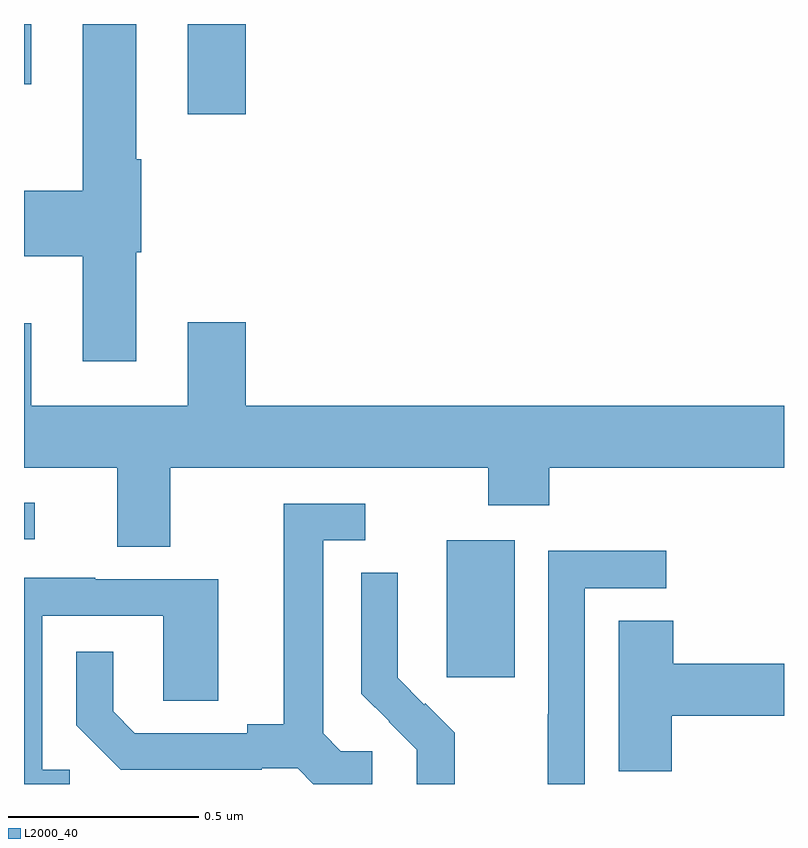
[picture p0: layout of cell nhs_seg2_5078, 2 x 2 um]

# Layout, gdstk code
import gdstk
lib = gdstk.Library(unit=1e-6, precision=1e-09)
def R(c, l, rs):  # rectangles x0, y0, x1, y1
    for r in rs: c.add(gdstk.rectangle(r[:2], r[2:], *l))
def P(c, l, *ps):  # polygons
    for p in ps: c.add(gdstk.Polygon(p, *l))
L2000_40 = (2000, 40)

nhs_seg2_5078 = lib.new_cell('nhs_seg2_5078')
R(nhs_seg2_5078, L2000_40, [(175.112,651.081,175.291,651.442), (174,651.444,174.028,651.54), (174.431,652.563,174.584,652.8), (174,652.641,174.019,652.8)])
P(nhs_seg2_5078, L2000_40, [(174.295,652.2),(174.308,652.2),(174.308,652.444),(174.295,652.444),(174.295,652.8),(174.155,652.8),(174.155,652.361),(174,652.361),(174,652.189),(174.155,652.189),(174.155,651.912),(174.295,651.912)],
  [(174.385,651.632),(175.222,651.632),(175.222,651.533),(175.382,651.533),(175.382,651.632),(176,651.632),(176,651.796),(174.584,651.796),(174.584,652.015),(174.431,652.015),(174.431,651.796),(174.019,651.796),(174.019,652.012),(174,652.012),(174,651.632),(174.245,651.632),(174.245,651.424),(174.385,651.424)],
  [(174.916,650.886),(174.834,650.886),(174.787,650.933),(174.787,651.441),(174.898,651.441),(174.898,651.537),(174.683,651.537),(174.683,650.957),(174.587,650.957),(174.587,650.934),(174.292,650.934),(174.235,650.991),(174.235,651.148),(174.138,651.148),(174.138,650.954),(174.254,650.838),(174.626,650.838),(174.626,650.841),(174.72,650.841),(174.761,650.8),(174.916,650.8)],
  [(175.476,651.315),(175.69,651.315),(175.69,651.414),(175.38,651.414),(175.38,650.984),(175.378,650.984),(175.378,650.8),(175.476,650.8)],
  [(175.133,650.935),(175.056,651.012),(175.053,651.009),(174.983,651.08),(174.983,651.202),(174.984,651.202),(174.984,651.356),(174.888,651.356),(174.888,651.038),(174.961,650.965),(174.96,650.964),(175.034,650.89),(175.034,650.8),(175.133,650.8)],
  [(174.121,650.838),(174.048,650.838),(174.048,651.243),(174.366,651.243),(174.366,651.019),(174.511,651.019),(174.511,651.339),(174.187,651.339),(174.187,651.343),(174,651.343),(174,650.8),(174.121,650.8)],
  [(175.704,650.98),(176,650.98),(176,651.116),(175.709,651.116),(175.709,651.23),(175.565,651.23),(175.565,650.833),(175.704,650.833)])

lib.write_gds('nhs_seg2_5078.gds')
